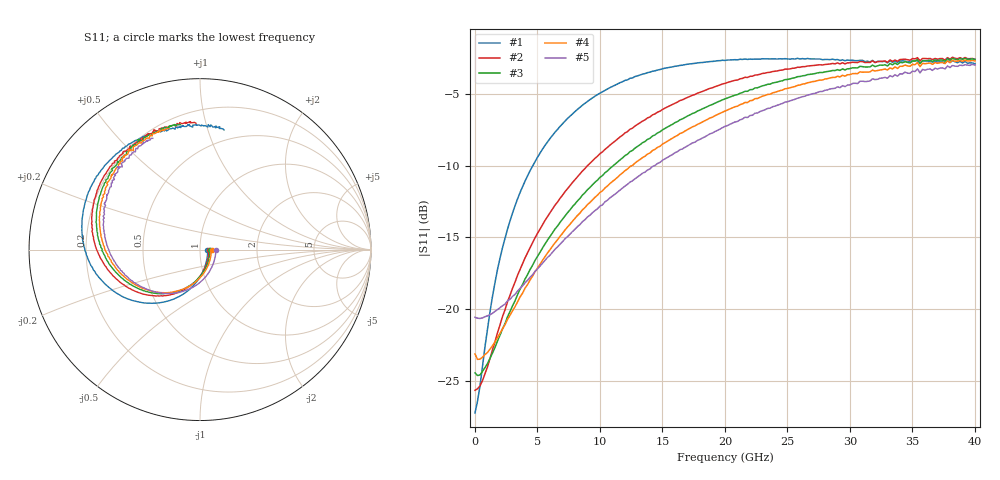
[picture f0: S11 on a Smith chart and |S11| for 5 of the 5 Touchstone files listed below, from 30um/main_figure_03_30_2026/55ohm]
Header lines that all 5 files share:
!Agilent Technologies,N5227A,US51270434,A.10.00.00
!Agilent N5227A: A.10.00.00
!Correction: S11(Full 1 Port(1))
!S1P File: Measurement: S11:
# Hz S  dB  R 50
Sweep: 10 MHz to 40 GHz
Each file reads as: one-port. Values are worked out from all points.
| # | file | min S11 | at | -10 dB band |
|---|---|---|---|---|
| 1 | Bias_0V_55ohm.s1p | -27.2 dB | 10 MHz | over 4.632 GHz wide |
| 2 | Bias_-3V_55ohm.s1p | -25.6 dB | 10 MHz | over 9.011 GHz wide |
| 3 | Bias_-4V_55ohm.s1p | -24.6 dB | 209.9 MHz | over 11.08 GHz wide |
| 4 | Bias_-5V_60ohm.s1p | -23.5 dB | 209.9 MHz | over 12.58 GHz wide |
| 5 | Bias_-7V_55ohm.s1p | -20.6 dB | 409.9 MHz | over 14.38 GHz wide |
